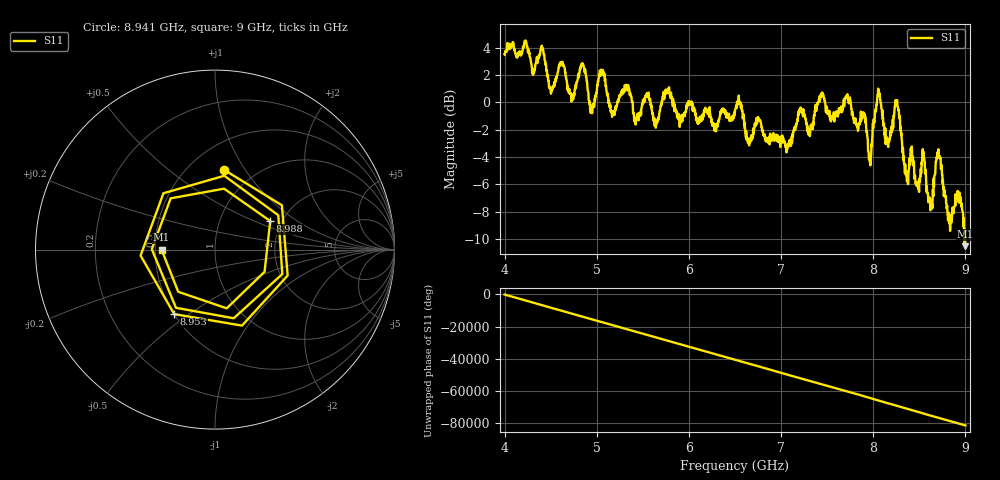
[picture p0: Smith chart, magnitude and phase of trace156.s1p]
! Created with skrf 1.8.0 (http://scikit-rf.org).
# Hz S RI R 50.0
!freq ReS11 ImS11
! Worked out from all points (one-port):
!   1601 points, 4 GHz to 9 GHz, reference 50 ohm
!   lowest |S11| = -10.5 dB at 9 GHz (marker M1), VSWR 1.85, Z = 27.1 - j0.0377 ohm
!   |S11| at or under -10 dB: 8.990021 GHz to 8.992358 GHz (2.336 MHz wide, 0.026 % of centre); 8.996374 GHz to end of sweep
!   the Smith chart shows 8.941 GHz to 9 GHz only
!   S11 on the Smith chart (normalised r, x): 8.941 GHz: 0.73, +0.81; 8.953 GHz: 0.50, -0.44; 8.988 GHz: 1.74, +0.63; 9 GHz: 0.54, -0.00
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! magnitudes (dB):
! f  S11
! 4 GHz  3.5
! 4.406 GHz  3.8
! 4.506 GHz  0.9
! 4.625 GHz  2.8
! 4.731 GHz  0.4
! 4.853 GHz  2.8
! 4.947 GHz  -0.7
! 5.053 GHz  2.0
! 5.169 GHz  -0.9
! 5.25 GHz  0.4
! 5.875 GHz  -0.8
! 6.5 GHz  -0.6
! 7.125 GHz  -2.3
! 7.434 GHz  0.6
! 7.75 GHz  0.2
! 7.962 GHz  -4.4
! 8.053 GHz  1.0
! 8.159 GHz  -3.1
! 8.256 GHz  0.0
! 8.375 GHz  -5.5
! 8.547 GHz  -3.6
! 8.619 GHz  -7.9
! 8.706 GHz  -3.4
! 8.828 GHz  -8.9
! 8.941 GHz  -7.0
! 8.953 GHz  -7.4
! 8.988 GHz  -9.2
! 9 GHz  -10.5
